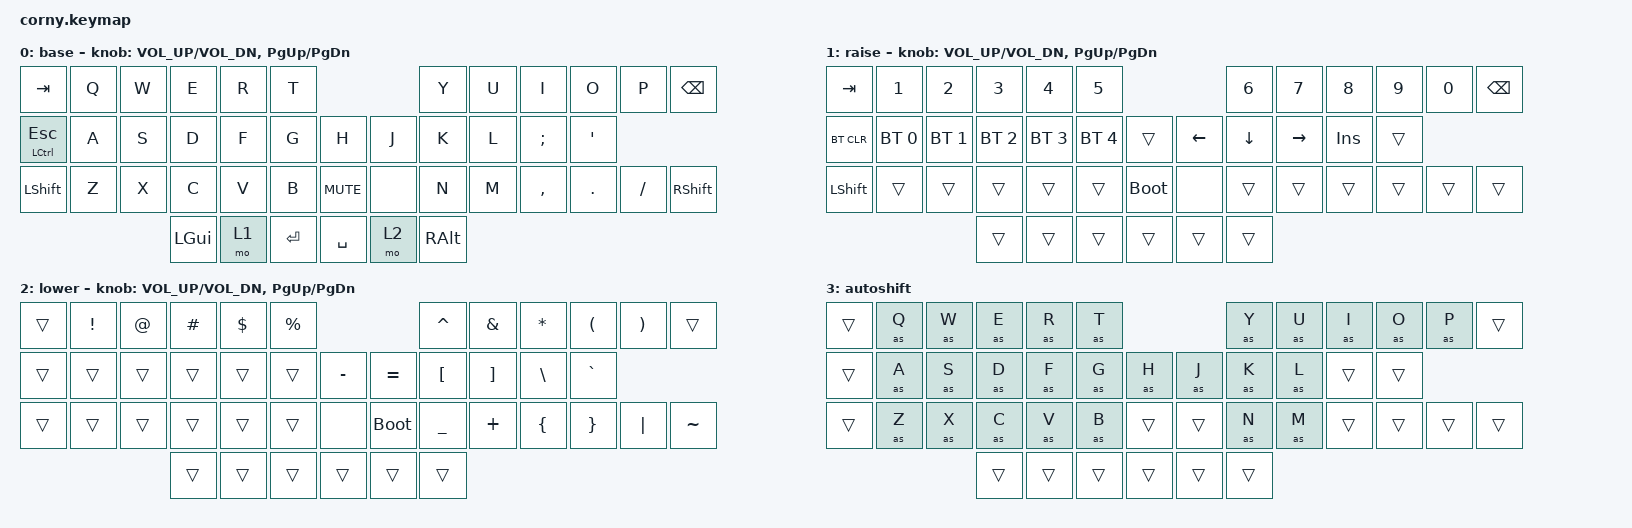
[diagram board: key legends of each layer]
#include <behaviors.dtsi>
#include <dt-bindings/zmk/bt.h>
#include <dt-bindings/zmk/keys.h>

&sk {
  /delete-property/ ignore-modifiers;
};

/ {
  combos {
    compatible = "zmk,combos";

    tab {
      key-positions = <2 3>;
      bindings = <&kp TAB>;
    };

    ctrl {
      key-positions = <26 27>;
      bindings = <&kp LCTRL>;
    };

    cmd {
      key-positions = <37 38>;
      bindings = <&kp LCMD>;
    };

    alt {
      key-positions = <39 40>;
      bindings = <&kp LEFT_ALT>;
    };

    shift {
      key-positions = <8 9>;
      bindings = <&kp LSHIFT>;
    };

    caps_word {
      key-positions = <17 18>;
      bindings = <&caps_word>;
    };

    delete {
      key-positions = <32 33>;
      bindings = <&kp DEL>;
    };
  };

  macros {
    shift: with_lshift {
      compatible = "zmk,behavior-macro-one-param";
      #binding-cells = <1>;
      label = "KEY_PRESS_WITH_LEFT_SHIFT_MODIFIER";
      bindings
        = <&macro_press>
        , <&kp LSHFT>
        , <&macro_tap>
        , <&macro_param_1to1 &kp MACRO_PLACEHOLDER>
        , <&macro_release>
        , <&kp LSHFT>
        ;
    };
    as: autoshift {
      compatible = "zmk,behavior-macro-one-param";
      #binding-cells = <1>;
      label = "AUTOSHIFT_KEYPRESS";
      bindings
        = <&macro_press>
        , <&macro_param_1to1 &macro_param_1to2 &as_ht MACRO_PLACEHOLDER MACRO_PLACEHOLDER>
        , <&macro_pause_for_release>
        , <&macro_release>
        , <&macro_param_1to1 &macro_param_1to2 &as_ht MACRO_PLACEHOLDER MACRO_PLACEHOLDER>
        ;
    };
  };

  behaviors {
    as_ht: autoshift_hold_tap {
      compatible = "zmk,behavior-hold-tap";
      #binding-cells = <2>;
      label = "AUTOSHIFT_HOLD_TAP";
      bindings = <&shift>, <&kp>;

      tapping-term-ms = <190>;
    };
    hml: homewrow_mods_left {
      compatible = "zmk,behavior-hold-tap";
      #binding-cells = <2>;
      label = "HOMEROW_MODS_LEFT_HAND";
      bindings = <&kp>, <&kp>;
      tapping-term-ms = <200>;

      hold-trigger-key-positions = <6 7 8 9 10 11 18 19 20 21 22 23 30 31 32 33 34 35 39 40 41>;
    };
    hmr: homewrow_mods_right {
      compatible = "zmk,behavior-hold-tap";
      #binding-cells = <2>;
      label = "HOMEROW_MODS_RIGHT_HAND";
      bindings = <&kp>, <&kp>;
      tapping-term-ms = <200>;

      hold-trigger-key-positions = <0 1 2 3 4 5 12 13 14 15 16 17 24 25 26 27 28 29 36 37 38>;
    };
    capdance: capdance {
      compatible = "zmk,behavior-tap-dance";
      label = "CAPDANCE";
      #binding-cells = <0>;
      bindings = <&caps_word>, <&kp CAPS>;
    };
  };

  conditional_layers {
    compatible = "zmk,conditional-layers";
    tri_layer {
      if-layers = <1 2>;
      then-layer = <3>;
    };
  };

  keymap {
    compatible = "zmk,keymap";

    base {
// --------------------------------------------------------------------------------------------------------------------------------------------------
// |  TAB |      Q     |      W      |     E     |     R    |  T  |                                            |  Y  |   U       | I       | O            |  P        | BKSP |
// | CTRL |  lshift A  | lcontrol S  | lalt  D   | lcmd  F  |  G  |                   |  H  |  rcmd J   | ralt K  |  rcontrol L  | rshift ;  |  '   |
// | SHFT |      Z     |      X      |     C     |     V    |  B  |  mute  |          |  B  |  N  |  M   |  ,  |  .  |  /  | ESC  |
//                    | GUI | LWR | RET |                                             | SPC | RSE  | ALT |
// ----------------------------------------------------------------------------------------------------------------------------------------------

      bindings = <
        &kp TAB          &kp Q         &kp W         &kp E        &kp R            &kp T                              &kp Y    &kp U              &kp I        &kp O         &kp P            &kp BSPC
        &mt LCTRL ESC   &kp A  &kp S  &kp D  &kp F      &kp G                              &kp H    &kp J        &kp K  &kp L  &kp SEMI  &kp APOS
        &kp LSHFT        &kp Z         &kp X         &kp C        &kp V            &kp B    &kp C_MUTE    &none       &kp N    &kp M              &kp COMMA    &kp DOT       &kp FSLH         &kp RSHFT
                                               &kp LGUI     &mo 1  &kp RET            &kp SPACE  &mo 2 &kp RALT
      >;

      // bootloader on click 
        sensor-bindings = <&inc_dec_kp C_VOL_UP C_VOL_DN &inc_dec_kp PG_UP PG_DN>;
    };

    raise {
        // -----------------------------------------------------------------------------------------
            // |  TAB |  1  |  2  |  3  |  4  |  5  |   |  6  |  7  |  8  |  9  |  0  | BKSP |
            // | BTCLR| BT1 | BT2 | BT3 | BT4 | BT5 |   | LFT | DWN |  UP | RGT |     |      |
            // | SHFT |     |     |     |     |     |   |     |     |     |     |     |      |
            //                    |     |     |     |   |     |     |     |
        // -----------------------------------------------------------------------------------------
      bindings = <
        &kp TAB      &kp N1        &kp N2        &kp N3        &kp N4        &kp N5                               &kp N6  &kp N7  &kp N8  &kp N9  &kp N0  &kp BSPC
        &bt BT_CLR  &bt BT_SEL 0  &bt BT_SEL 1  &bt BT_SEL 2  &bt BT_SEL 3  &bt BT_SEL 4                         &trans   &kp LEFT_ARROW  &kp DOWN  &kp RIGHT  &kp INS   &trans
        &kp LSHFT      &trans        &trans        &trans        &trans        &trans   &bootloader     &none       &trans  &trans  &trans  &trans  &trans  &trans
                                                &trans        &trans        &trans          &trans  &trans  &trans
      >;

        sensor-bindings = <&inc_dec_kp C_VOL_UP C_VOL_DN &inc_dec_kp PG_UP PG_DN>;
    };

    lower {
        // -----------------------------------------------------------------------------------------
            // |      |  !  |  @  |  #  |  $  |  %  |   |  ^  |  &  |  *  |  (  |  )  |      |
            // |      |     |     |     |     |     |   |  -  |  =  |  [  |  ]  |  \  |   `  |
            // |      |     |     |     |     |     |   |  _  |  +  |  {  |  }  |  |  |   ~  |
            //                    |     |     |     |   |     |     |     |
        // -----------------------------------------------------------------------------------------
      bindings = <
        &trans  &kp EXCL  &kp AT  &kp HASH  &kp DLLR  &kp PRCNT                               &kp CARET  &kp AMPS   &kp STAR  &kp LPAR  &kp RPAR  &trans
        &trans  &trans    &trans  &trans    &trans    &trans                                  &kp MINUS  &kp EQUAL  &kp LBKT  &kp RBKT  &kp BSLH  &kp GRAVE
        &trans  &trans    &trans  &trans    &trans    &trans      &none &bootloader           &kp UNDER  &kp PLUS   &kp LBRC  &kp RBRC  &kp PIPE  &kp TILDE
                                  &trans    &trans    &trans       &trans     &trans     &trans
      >;
      
        sensor-bindings = <&inc_dec_kp C_VOL_UP C_VOL_DN &inc_dec_kp PG_UP PG_DN>;
    };

    autoshift {
      bindings = <
        &trans  &as Q  &as W  &as E   &as R   &as T                       &as Y   &as U   &as I   &as O   &as P   &trans
        &trans  &as A  &as S  &as D   &as F   &as G                       &as H   &as J   &as K   &as L   &trans  &trans
        &trans  &as Z  &as X  &as C   &as V   &as B   &trans    &trans    &as N   &as M   &trans  &trans  &trans  &trans
                              &trans  &trans  &trans    &trans  &trans  &trans
      >;
    };
  };
};
